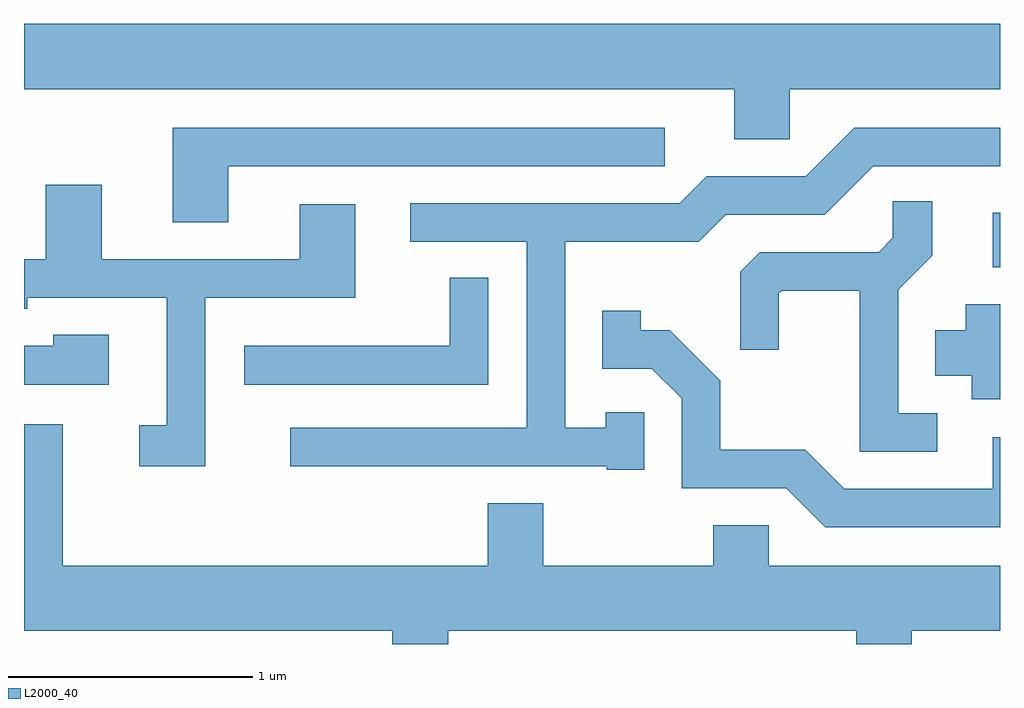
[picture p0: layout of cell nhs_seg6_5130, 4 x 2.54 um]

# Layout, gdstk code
import gdstk
lib = gdstk.Library(unit=1e-6, precision=1e-09)
def R(c, l, rs):  # rectangles x0, y0, x1, y1
    for r in rs: c.add(gdstk.rectangle(r[:2], r[2:], *l))
def P(c, l, *ps):  # polygons
    for p in ps: c.add(gdstk.Polygon(p, *l))
L2000_40 = (2000, 40)

nhs_seg6_5130 = lib.new_cell('nhs_seg6_5130')
R(nhs_seg6_5130, L2000_40, [(345.581,1593.706,345.611,1593.929)])
P(nhs_seg6_5130, L2000_40, [(344.749,1594.436),(345.611,1594.436),(345.611,1594.704),(341.611,1594.704),(341.611,1594.436),(344.521,1594.436),(344.521,1594.231),(344.749,1594.231)],
  [(344.154,1593.113),(343.996,1593.113),(343.996,1593.049),(343.829,1593.049),(343.829,1593.811),(344.377,1593.811),(344.487,1593.921),(344.892,1593.921),(345.092,1594.121),(345.611,1594.121),(345.611,1594.279),(345.014,1594.279),(344.814,1594.079),(344.409,1594.079),(344.299,1593.969),(343.193,1593.969),(343.193,1593.811),(343.671,1593.811),(343.671,1593.049),(342.703,1593.049),(342.703,1592.891),(344,1592.891),(344,1592.876),(344.154,1592.876)],
  [(342.449,1594.121),(344.238,1594.121),(344.238,1594.279),(342.221,1594.279),(342.221,1593.891),(342.449,1593.891)],
  [(342.354,1593.581),(342.969,1593.581),(342.969,1593.964),(342.741,1593.964),(342.741,1593.739),(341.929,1593.739),(341.929,1594.044),(341.701,1594.044),(341.701,1593.739),(341.611,1593.739),(341.611,1593.536),(341.624,1593.536),(341.624,1593.581),(342.196,1593.581),(342.196,1593.059),(342.083,1593.059),(342.083,1592.891),(342.354,1592.891)],
  [(345.353,1593.109),(345.194,1593.109),(345.194,1593.614),(345.334,1593.754),(345.334,1593.978),(345.171,1593.978),(345.171,1593.827),(345.114,1593.769),(344.627,1593.769),(344.546,1593.689),(344.546,1593.368),(344.704,1593.368),(344.704,1593.599),(344.717,1593.611),(345.036,1593.611),(345.036,1592.951),(345.353,1592.951)],
  [(343.514,1593.663),(343.356,1593.663),(343.356,1593.384),(342.513,1593.384),(342.513,1593.226),(343.514,1593.226)],
  [(345.611,1593.554),(345.471,1593.554),(345.471,1593.449),(345.346,1593.449),(345.346,1593.261),(345.496,1593.261),(345.496,1593.166),(345.611,1593.166)],
  [(345.611,1593.009),(345.581,1593.009),(345.581,1592.799),(344.972,1592.799),(344.812,1592.959),(344.464,1592.959),(344.464,1593.242),(344.257,1593.449),(344.139,1593.449),(344.139,1593.528),(343.981,1593.528),(343.981,1593.291),(344.184,1593.291),(344.306,1593.169),(344.306,1592.801),(344.734,1592.801),(344.894,1592.641),(345.611,1592.641)],
  [(341.959,1593.429),(341.731,1593.429),(341.731,1593.384),(341.611,1593.384),(341.611,1593.226),(341.959,1593.226)],
  [(341.611,1593.064),(341.611,1592.216),(343.121,1592.216),(343.121,1592.162),(343.349,1592.162),(343.349,1592.216),(345.021,1592.216),(345.021,1592.162),(345.249,1592.162),(345.249,1592.216),(345.611,1592.216),(345.611,1592.484),(344.664,1592.484),(344.664,1592.649),(344.436,1592.649),(344.436,1592.484),(343.739,1592.484),(343.739,1592.739),(343.511,1592.739),(343.511,1592.484),(341.769,1592.484),(341.769,1593.064)])

lib.write_gds('nhs_seg6_5130.gds')
